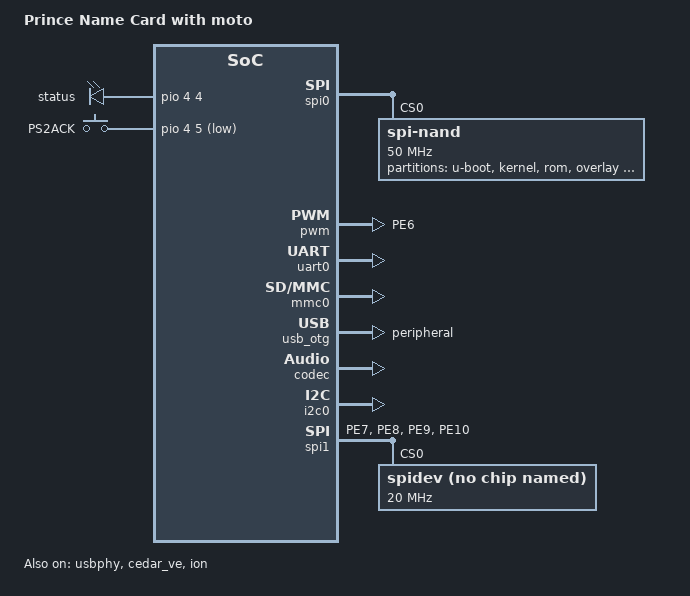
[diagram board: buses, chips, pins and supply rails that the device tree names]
// SPDX-License-Identifier: (GPL-2.0+ OR X11)

/dts-v1/;
#include "suniv-f1c100s.dtsi"
#include <dt-bindings/gpio/gpio.h>
#include <dt-bindings/input/input.h>
#include <dt-bindings/pwm/pwm.h>

/ {
	model = "Prince Name Card with moto";
	compatible = "allwinner,suniv-f1c100s";

	chosen {
		#address-cells = <1>;
		#size-cells = <1>;
		ranges;

		bootargs = "console=ttyS0,115200 earlyprintk rootwait init=/preinit root=/dev/mtdblock2 rootfstype=squashfs overlayfsdev=/dev/mtdblock3";
	};

	leds {
		compatible = "gpio-leds";

		status {
			label = "status";
			gpios = <&pio 4 4 GPIO_ACTIVE_HIGH>; /* PE4 */
			linux,default-trigger = "heartbeat";
		};
	};

	gpio_keys {
		compatible = "gpio-keys";
		#address-cells = <1>;
		#size-cells = <0>;
//		pinctrl-names = "default";
//		pinctrl-0 = <&ps2ack>;
		autorepeat;

		switch0 {
			label = "PS2ACK";
			linux,code = <115>;
			gpios = <&pio 4 5 GPIO_ACTIVE_LOW>;
			gpio-key,wakeup;
			gpio-key,level-trigger;
		};
	};
};

&spi0 {
	status = "okay";

	spi-nor@0 {
		#address-cells = <1>;
		#size-cells = <1>;
		compatible = "winbond,w25q128", "jedec,spi-nor";
		reg = <0>;
		spi-max-frequency = <50000000>;
		status = "disabled";

		partitions {
			compatible = "fixed-partitions";
			#address-cells = <1>;
			#size-cells = <1>;

			partition@0 {
				label = "u-boot";
				reg = <0x000000 0x70000>;
				read-only;
			};

			partition@1 {
				label = "kernel";
				reg = <0x70000 0x590000>;
				read-only;
			};

			partition@2 {
				label = "rom";
				reg = <0x600000 0x700000>;
				read-only;
			};

			partition@3 {
				label = "overlay";
				reg = <0xd00000 0x300000>;
			};
		};
	};

	spi-nand@0 {
		#address-cells = <1>;
		#size-cells = <1>;
		compatible = "spi-nand";
		reg = <0>;
		spi-max-frequency = <50000000>;
		status = "okay";

		partitions {
			compatible = "fixed-partitions";
			#address-cells = <1>;
			#size-cells = <1>;

			partition@0 {
				label = "u-boot";
				reg = <0x000000 0x100000>;
				read-only;
			};

			partition@1 {
				label = "kernel";
				reg = <0x100000 0x500000>;
				read-only;
			};

			partition@2 {
				label = "rom";
				reg = <0x600000 0x2a00000>;
				read-only;
			};

			partition@3 {
				label = "overlay";
				reg = <0x3000000 0x1000000>;
			};

			partition@4 {
				label = "udisk";
				reg = <0x4000000 0x4000000>;
			};
		};
	};
};

&pio {
	spi1_pins: spi1-pins-pa {
		pins = "PE7", "PE8", "PE9", "PE10";
		function = "spi1";
	};

	ps2ack: ps2ack-pins {
		pins = "PE5";
		function = "gpio_in";
	};

	pwm1_pin: pwm1@0 {
		pins = "PE6";
		function = "pwm1";
		drive-strength = <30>;
		bias-pull-up;
	};
};

&pwm {
	pinctrl-names = "default";
	pinctrl-0 = <&pwm1_pin>;
	status = "okay";
};

&uart0 {
	pinctrl-names = "default";
	pinctrl-0 = <&uart0_pe_pins>;
	status = "okay";
};

&mmc0 {
	status = "okay";
	broken-cd;
};

&otg_sram {
	status = "okay";
};

&usb_otg {
	dr_mode = "peripheral"; /* otg host peripheral */
	status = "okay";
};

&usbphy {
	//usb0_id_det-gpio = <&pio 4 2 GPIO_ACTIVE_HIGH>; /* PE2 */
	status = "okay";
};

&cedar_ve {
	status = "okay";
};

&ion {
	status = "okay";
};

&codec {
	allwinner,audio-routing =
		"Headphone", "HP",
		"Headphone", "HPCOM",
		"LINEIN", "Line In",
		"FMINL", "Left FM In",
		"FMINR", "Right FM In",
		"MIC", "Mic";
	status = "okay";
};

&i2c0 {
	pinctrl-names = "default";
	pinctrl-0 = <&i2c0_pd_pins>;
	status = "okay";
};

&spi1 {
	#address-cells = <1>;
	#size-cells = <0>;
	pinctrl-names = "default";
	pinctrl-0 = <&spi1_pins>;
	status = "okay";

	spidev@0 {
		reg = <0>;
		compatible = "rohm,dh2228fv";
		spi-max-frequency = <20000000>;
		spi-cpha;
		spi-cpol;
		status = "okay";
	};
};
